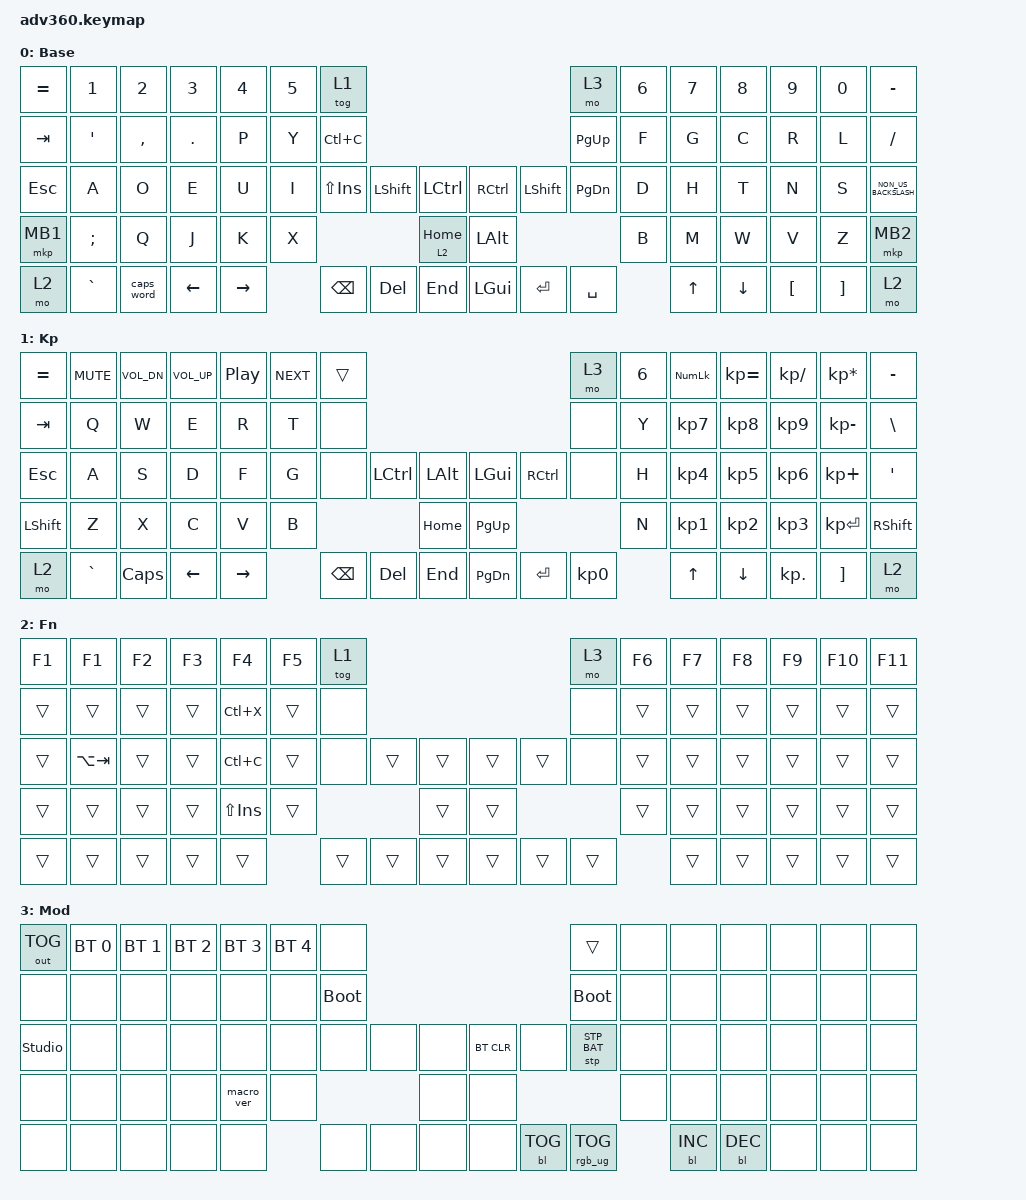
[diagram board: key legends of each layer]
#include <dt-bindings/zmk/stp.h>
#include <behaviors.dtsi>
#include <dt-bindings/zmk/backlight.h>
#include <dt-bindings/zmk/bt.h>
#include <dt-bindings/zmk/keys.h>
#include <dt-bindings/zmk/outputs.h>
#include <dt-bindings/zmk/pointing.h>
#include <dt-bindings/zmk/rgb.h>

/ {
    behaviors {
        #include "macros.dtsi"
      #include "version.dtsi"

        hm: homerow_mods {
            compatible = "zmk,behavior-hold-tap";
            label = "HOMEROW_MODS";
            #binding-cells = <2>;
            tapping-term-ms = <200>;
            quick_tap_ms = <175>;
            flavor = "tap-preferred";
            bindings = <&kp>, <&kp>;
        };
    };

    keymap {
        compatible = "zmk,keymap";

        default_layer {
            display-name = "Base";
            bindings = <
&kp EQUAL  &kp N1         &kp N2      &kp N3      &kp N4     &kp N5  &tog 1                                                                        &mo 3          &kp N6  &kp N7  &kp N8    &kp N9    &kp N0    &kp MINUS
&kp TAB    &kp SQT        &kp COMMA   &kp PERIOD  &kp P      &kp Y   &kp LC(C)                                                                     &kp PAGE_UP    &kp F   &kp G   &kp C     &kp R     &kp L     &kp SLASH
&kp ESC    &kp A          &kp O       &kp E       &kp U      &kp I   &kp LS(INSERT)  &kp LEFT_SHIFT  &kp LCTRL       &kp RCTRL     &kp LEFT_SHIFT  &kp PAGE_DOWN  &kp D   &kp H   &kp T     &kp N     &kp S     &kp NON_US_BACKSLASH
&mkp MB1   &kp SEMICOLON  &kp Q       &kp J       &kp K      &kp X                                   &lt 2 HOME      &kp LEFT_ALT                                 &kp B   &kp M   &kp W     &kp V     &kp Z     &mkp MB2
&mo 2      &kp GRAVE      &caps_word  &kp LEFT    &kp RIGHT          &kp BSPC        &kp DEL         &kp END         &kp LGUI      &kp ENTER       &kp SPACE              &kp UP  &kp DOWN  &kp LBKT  &kp RBKT  &mo 2
            >;
        };

        keypad {
            display-name = "Kp";
            bindings = <
&kp EQUAL  &kp C_MUTE  &kp C_VOL_DN  &kp C_VOLUME_UP  &kp C_PLAY_PAUSE  &kp C_NEXT  &trans                                                   &mo 3      &kp N6  &kp KP_NUM  &kp KP_EQUAL  &kp KP_DIVIDE  &kp KP_MULTIPLY  &kp MINUS
&kp TAB    &kp Q       &kp W         &kp E            &kp R             &kp T       &none                                                    &none      &kp Y   &kp KP_N7   &kp KP_N8     &kp KP_N9      &kp KP_MINUS     &kp BSLH
&kp ESC    &kp A       &kp S         &kp D            &kp F             &kp G       &none     &kp LCTRL  &kp LALT      &kp LGUI   &kp RCTRL  &none      &kp H   &kp KP_N4   &kp KP_N5     &kp KP_N6      &kp KP_PLUS      &kp SQT
&kp LSHFT  &kp Z       &kp X         &kp C            &kp V             &kp B                            &kp HOME      &kp PG_UP                        &kp N   &kp KP_N1   &kp KP_N2     &kp KP_N3      &kp KP_ENTER     &kp RSHFT
&mo 2      &kp GRAVE   &kp CAPS      &kp LEFT         &kp RIGHT                     &kp BSPC  &kp DEL    &kp END       &kp PG_DN  &kp ENTER  &kp KP_N0          &kp UP      &kp DOWN      &kp KP_DOT     &kp RBKT         &mo 2
            >;
        };

        fn {
            display-name = "Fn";
            bindings = <
&kp F1  &kp F1       &kp F2  &kp F3  &kp F4          &kp F5  &tog 1                                      &mo 3   &kp F6  &kp F7  &kp F8  &kp F9  &kp F10  &kp F11
&trans  &trans       &trans  &trans  &kp LC(X)       &trans  &none                                       &none   &trans  &trans  &trans  &trans  &trans   &trans
&trans  &kp LA(TAB)  &trans  &trans  &kp LC(C)       &trans  &none   &trans  &trans      &trans  &trans  &none   &trans  &trans  &trans  &trans  &trans   &trans
&trans  &trans       &trans  &trans  &kp LS(INSERT)  &trans                  &trans      &trans                  &trans  &trans  &trans  &trans  &trans   &trans
&trans  &trans       &trans  &trans  &trans                  &trans  &trans  &trans      &trans  &trans  &trans          &trans  &trans  &trans  &trans   &trans
            >;
        };

        mod {
            display-name = "Mod";
            bindings = <
&out OUT_TOG    &bt BT_SEL 0  &bt BT_SEL 1  &bt BT_SEL 2  &bt BT_SEL 3  &bt BT_SEL 4  &none                                                  &trans           &none  &none       &none       &none  &none  &none
&none           &none         &none         &none         &none         &none         &bootloader                                            &bootloader      &none  &none       &none       &none  &none  &none
&studio_unlock  &none         &none         &none         &none         &none         &none        &none  &none      &bt BT_CLR  &none       &stp STP_BAT     &none  &none       &none       &none  &none  &none
&none           &none         &none         &none         &macro_ver    &none                             &none      &none                                    &none  &none       &none       &none  &none  &none
&none           &none         &none         &none         &none                       &none        &none  &none      &none       &bl BL_TOG  &rgb_ug RGB_TOG         &bl BL_INC  &bl BL_DEC  &none  &none  &none
            >;
        };

        extra1 {
            display-name = "Red";
            status = "reserved";
        };

        extra2 {
            display-name = "Purple";
            status = "reserved";
        };

        extra3 {
            display-name = "Cyan";
            status = "reserved";
        };

        extra4 {
            display-name = "Yellow";
            status = "reserved";
        };
    };
};
